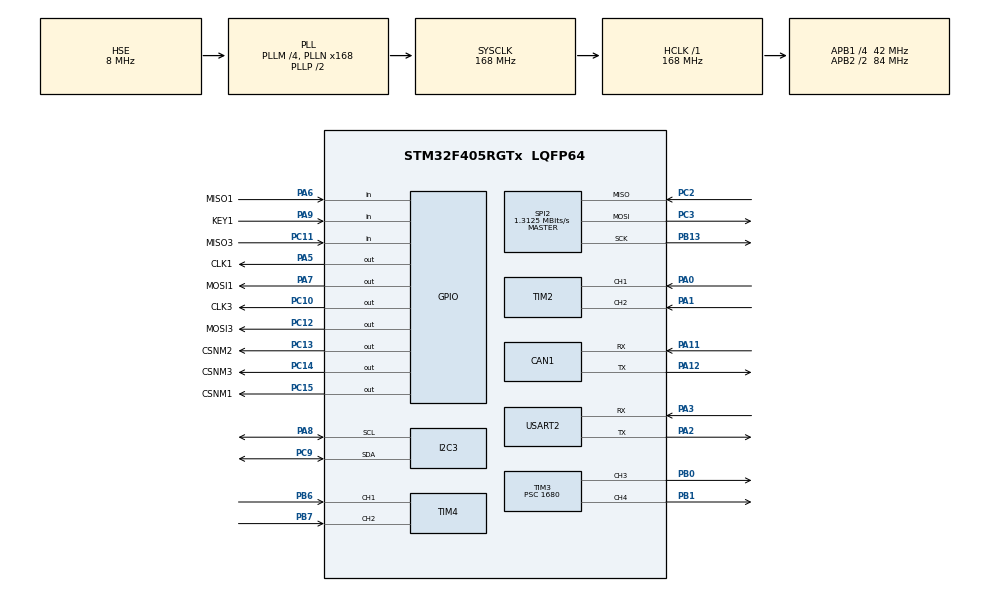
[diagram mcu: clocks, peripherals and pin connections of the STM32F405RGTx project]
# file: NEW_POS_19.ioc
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CAN1.CalculateTimeQuantum=380.95238095238096
Dma.Request0=USART2_RX
Dma.Request1=USART2_TX
Dma.USART2_RX.0.Direction=DMA_PERIPH_TO_MEMORY
Dma.USART2_RX.0.FIFOMode=DMA_FIFOMODE_DISABLE
Dma.USART2_RX.0.Instance=DMA1_Stream5
Dma.USART2_RX.0.MemDataAlignment=DMA_MDATAALIGN_BYTE
Dma.USART2_RX.0.MemInc=DMA_MINC_ENABLE
Dma.USART2_RX.0.Mode=DMA_CIRCULAR
Dma.USART2_RX.0.PeriphDataAlignment=DMA_PDATAALIGN_BYTE
Dma.USART2_RX.0.PeriphInc=DMA_PINC_DISABLE
Dma.USART2_RX.0.Priority=DMA_PRIORITY_LOW
Dma.USART2_TX.1.Direction=DMA_MEMORY_TO_PERIPH
Dma.USART2_TX.1.FIFOMode=DMA_FIFOMODE_DISABLE
Dma.USART2_TX.1.Instance=DMA1_Stream6
Dma.USART2_TX.1.MemDataAlignment=DMA_MDATAALIGN_BYTE
Dma.USART2_TX.1.MemInc=DMA_MINC_ENABLE
Dma.USART2_TX.1.Mode=DMA_NORMAL
Dma.USART2_TX.1.PeriphDataAlignment=DMA_PDATAALIGN_BYTE
Dma.USART2_TX.1.PeriphInc=DMA_PINC_DISABLE
Dma.USART2_TX.1.Priority=DMA_PRIORITY_LOW
Mcu.Family=STM32F4
Mcu.Name=STM32F405RGTx
Mcu.Package=LQFP64
NVIC.CAN1_RX0_IRQn=true\:0\:0\:false\:false\:true\:true\:true
NVIC.CAN1_RX1_IRQn=true\:0\:0\:false\:false\:true\:true\:true
NVIC.CAN1_SCE_IRQn=true\:0\:0\:false\:false\:true\:true\:true
NVIC.DMA1_Stream5_IRQn=true\:0\:0\:false\:false\:true\:false\:true
NVIC.DMA1_Stream6_IRQn=true\:0\:0\:false\:false\:true\:false\:true
NVIC.PriorityGroup=NVIC_PRIORITYGROUP_4
NVIC.USART2_IRQn=true\:0\:0\:false\:false\:true\:true\:true
PA0-WKUP.Signal=S_TIM2_CH1_ETR
PA1.Signal=S_TIM2_CH2
PA11.Mode=Master
PA11.Signal=CAN1_RX
PA12.Mode=Master
PA12.Signal=CAN1_TX
PA13.Mode=Serial_Wire
PA13.Signal=SYS_JTMS-SWDIO
PA14.Mode=Serial_Wire
PA14.Signal=SYS_JTCK-SWCLK
PA2.Mode=Asynchronous
PA2.Signal=USART2_TX
PA3.Mode=Asynchronous
PA3.Signal=USART2_RX
PA5.GPIO_Label=CLK1
PA5.Signal=GPIO_Output
PA6.GPIO_Label=MISO1
PA6.Signal=GPIO_Input
PA7.GPIO_Label=MOSI1
PA7.Signal=GPIO_Output
PA8.Mode=I2C
PA8.Signal=I2C3_SCL
PA9.GPIO_Label=KEY1
PA9.GPIO_PuPd=GPIO_PULLUP
PA9.Signal=GPIO_Input
PB0.Signal=S_TIM3_CH3
PB1.Signal=S_TIM3_CH4
PB13.Mode=Full_Duplex_Master
PB13.Signal=SPI2_SCK
PB6.Signal=S_TIM4_CH1
PB7.Signal=S_TIM4_CH2
PC10.GPIO_Label=CLK3
PC10.Signal=GPIO_Output
PC11.GPIO_Label=MISO3
PC11.Signal=GPIO_Input
PC12.GPIO_Label=MOSI3
PC12.Signal=GPIO_Output
PC13-ANTI_TAMP.GPIO_Label=CSNM2
PC13-ANTI_TAMP.Signal=GPIO_Output
PC14-OSC32_IN.GPIO_Label=CSNM3
PC14-OSC32_IN.Signal=GPIO_Output
PC15-OSC32_OUT.GPIO_Label=CSNM1
PC15-OSC32_OUT.Signal=GPIO_Output
PC2.Mode=Full_Duplex_Master
PC2.Signal=SPI2_MISO
PC3.Mode=Full_Duplex_Master
PC3.Signal=SPI2_MOSI
PC9.Mode=I2C
PC9.Signal=I2C3_SDA
PH0-OSC_IN.Mode=HSE-External-Oscillator
PH0-OSC_IN.Signal=RCC_OSC_IN
PH1-OSC_OUT.Mode=HSE-External-Oscillator
PH1-OSC_OUT.Signal=RCC_OSC_OUT
ProjectManager.HeapSize=0x1000
ProjectManager.StackSize=0x400
ProjectManager.TargetToolchain=EWARM V8
RCC.48MHZClocksFreq_Value=84000000
RCC.AHBFreq_Value=168000000
RCC.APB1CLKDivider=RCC_HCLK_DIV4
RCC.APB1Freq_Value=42000000
RCC.APB1TimFreq_Value=84000000
RCC.APB2CLKDivider=RCC_HCLK_DIV2
RCC.APB2Freq_Value=84000000
RCC.APB2TimFreq_Value=168000000
RCC.CortexFreq_Value=168000000
RCC.HCLKFreq_Value=168000000
RCC.HSE_VALUE=8000000
RCC.HSI_VALUE=16000000
RCC.LSE_VALUE=32768
RCC.PLLM=4
RCC.PLLN=168
RCC.PLLSourceVirtual=RCC_PLLSOURCE_HSE
RCC.SYSCLKFreq_VALUE=168000000
RCC.SYSCLKSource=RCC_SYSCLKSOURCE_PLLCLK
RCC.VCOOutputFreq_Value=336000000
SH.S_TIM2_CH1_ETR.0=TIM2_CH1,Encoder_Interface
SH.S_TIM2_CH2.0=TIM2_CH2,Encoder_Interface
SH.S_TIM3_CH3.0=TIM3_CH3,PWM Generation3 CH3
SH.S_TIM3_CH4.0=TIM3_CH4,PWM Generation4 CH4
SH.S_TIM4_CH1.0=TIM4_CH1,Encoder_Interface
SH.S_TIM4_CH2.0=TIM4_CH2,Encoder_Interface
SPI2.BaudRatePrescaler=SPI_BAUDRATEPRESCALER_32
SPI2.CLKPhase=SPI_PHASE_2EDGE
SPI2.CLKPolarity=SPI_POLARITY_HIGH
SPI2.CalculateBaudRate=1.3125 MBits/s
SPI2.DataSize=SPI_DATASIZE_16BIT
SPI2.Direction=SPI_DIRECTION_2LINES
SPI2.Mode=SPI_MODE_MASTER
SPI2.VirtualType=VM_MASTER
TIM3.AutoReloadPreload=TIM_AUTORELOAD_PRELOAD_ENABLE
TIM3.Channel-PWM\ Generation3\ CH3=TIM_CHANNEL_3
TIM3.Channel-PWM\ Generation4\ CH4=TIM_CHANNEL_4
TIM3.Period=100-1
TIM3.Prescaler=1680
TIM3.Pulse-PWM\ Generation3\ CH3=50
TIM3.Pulse-PWM\ Generation4\ CH4=50
TIM6.Period=65535
TIM6.Prescaler=83
USART2.VirtualMode=VM_ASYNC
VP_TIM3_VS_ClockSourceINT.Mode=Internal
VP_TIM6_VS_ClockSourceINT.Mode=Enable_Timer
board=custom

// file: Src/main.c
/* USER CODE BEGIN Header */
/**
  ******************************************************************************
  * @file           : main.c
  * @brief          : Main program body
  ******************************************************************************
  * @attention
  *
  * <h2><center>&copy; Copyright (c) 2019 STMicroelectronics.
  * All rights reserved.</center></h2>
  *
  * This software component is licensed by ST under BSD 3-Clause license,
  * the "License"; You may not use this file except in compliance with the
  * License. You may obtain a copy of the License at:
  *                        opensource.org/licenses/BSD-3-Clause
  *
  ******************************************************************************
  */
/* USER CODE END Header */

#include "main.h"
#include "can.h"
#include "dma.h"
#include "i2c.h"
#include "spi.h"
#include "tim.h"
#include "usart.h"
#include "gpio.h"

/* USER CODE BEGIN Includes */
#include "ASM330.h"
#include "as5047p.h"
#include "calculate.h"
#include "encoder.h"
#include "filter.h"
#include "flash.h"
#include "simplelib.h"
#include "as5047p.h"

    #include "Asm330lhh.h"
/* USER CODE END Includes */

/* USER CODE BEGIN PTD */
extern void example_main_asm330lhh(void);
/* USER CODE END PTD */

void SystemClock_Config(void);

/* USER CODE BEGIN 0 */
Encoder encoder;
Triangle triangle;
Flag flag;

static uint32_t time_ms = 0;
int time = 5;

float inputangle;                                   //!删除

void flag_init()
{
  flag.encoder=0;
  flag.read=0;
  flag.wave=0;
}

/* USER CODE END 0 */

int main(void)
{

  /* MCU Configuration--------------------------------------------------------*/

  /* Reset of all peripherals, Initializes the Flash interface and the Systick. */
  HAL_Init();

  /* Configure the system clock */
  SystemClock_Config();

  /* Initialize all configured peripherals */
  MX_GPIO_Init();
  MX_DMA_Init();
  MX_CAN1_Init();
  MX_I2C3_Init();
  MX_SPI2_Init();
  MX_TIM2_Init();
  MX_TIM3_Init();
  MX_TIM4_Init();
  MX_USART2_UART_Init();
  MX_TIM6_Init();
  /* USER CODE BEGIN 2 */
  simplelib_init(&huart2, &hcan1);
  //ASM330_Init();                                          //！待�??????????????�??????????????
  encoder_init();
  uprintf("hello\r\n");
  load_prams();
  flag_init();
   //filter_init();

   //HAL_TIM_PWM_Start(&htim3, TIM_CHANNEL_3);
   //HAL_TIM_PWM_Start(&htim3, TIM_CHANNEL_4);
  /* USER CODE END 2 */

  /* Infinite loop */
  /* USER CODE BEGIN WHILE */
  example_main_asm330lhh();
  while (1)
  {

    uint16_t x=0,y=0;
    simplelib_run();
    if(time_ms%5==0)
    {

      //x=ias5047p_Get_Position_x();
      //y=ias5047p_Get_Position_y();
      calcul_XY();
      if(flag.encoder == 1)
        uprintf("x=%f          y=%f      \r\n",encoder.X,encoder.Y);
      if(flag.wave==1)
        send_wave(triangle.x,0,triangle.y,triangle.showangle);
    }
    if(time_ms%500==0)
    {

      if(flag.encoder == 1)
        uprintf("x=%f          y=%f      \r\n",encoder.X,encoder.Y);
    }
    if(time_ms%1000==0)
    {
      //uprintf("x%f\r\ny%f\r\nz%f\r\n",angular_rate_mdps[0],angular_rate_mdps[1],angular_rate_mdps[2]);
      //uprintf("x%d\r\n",x);
      //uprintf("y%d\r\n",y);
      if(flag.read==1)
        uprintf("x=%f     y=%f     angle=%f\r",triangle.x,triangle.y,triangle.showangle);
    }
    /* USER CODE END WHILE */

  }
}

void SystemClock_Config(void)
{
  RCC_OscInitTypeDef RCC_OscInitStruct = {0};
  RCC_ClkInitTypeDef RCC_ClkInitStruct = {0};

  /** Configure the main internal regulator output voltage
  */
  __HAL_RCC_PWR_CLK_ENABLE();
  __HAL_PWR_VOLTAGESCALING_CONFIG(PWR_REGULATOR_VOLTAGE_SCALE1);
  /** Initializes the CPU, AHB and APB busses clocks
  */
  RCC_OscInitStruct.OscillatorType = RCC_OSCILLATORTYPE_HSE;
  RCC_OscInitStruct.HSEState = RCC_HSE_ON;
  RCC_OscInitStruct.PLL.PLLState = RCC_PLL_ON;
  RCC_OscInitStruct.PLL.PLLSource = RCC_PLLSOURCE_HSE;
  RCC_OscInitStruct.PLL.PLLM = 4;
  RCC_OscInitStruct.PLL.PLLN = 168;
  RCC_OscInitStruct.PLL.PLLP = RCC_PLLP_DIV2;
  RCC_OscInitStruct.PLL.PLLQ = 4;
  if (HAL_RCC_OscConfig(&RCC_OscInitStruct) != HAL_OK)
  {
    Error_Handler();
  }
  /** Initializes the CPU, AHB and APB busses clocks
  */
  RCC_ClkInitStruct.ClockType = RCC_CLOCKTYPE_HCLK|RCC_CLOCKTYPE_SYSCLK
                              |RCC_CLOCKTYPE_PCLK1|RCC_CLOCKTYPE_PCLK2;
  RCC_ClkInitStruct.SYSCLKSource = RCC_SYSCLKSOURCE_PLLCLK;
  RCC_ClkInitStruct.AHBCLKDivider = RCC_SYSCLK_DIV1;
  RCC_ClkInitStruct.APB1CLKDivider = RCC_HCLK_DIV4;
  RCC_ClkInitStruct.APB2CLKDivider = RCC_HCLK_DIV2;

  if (HAL_RCC_ClockConfig(&RCC_ClkInitStruct, FLASH_LATENCY_5) != HAL_OK)
  {
    Error_Handler();
  }
}

/* USER CODE BEGIN 4 */
void HAL_IncTick(void)
{
  time_ms++;
  if(time_ms>=64000)
  {
    time_ms=0;
  }
}
/* USER CODE END 4 */

void Error_Handler(void)
{
}

/************************ (C) COPYRIGHT STMicroelectronics *****END OF FILE****/
